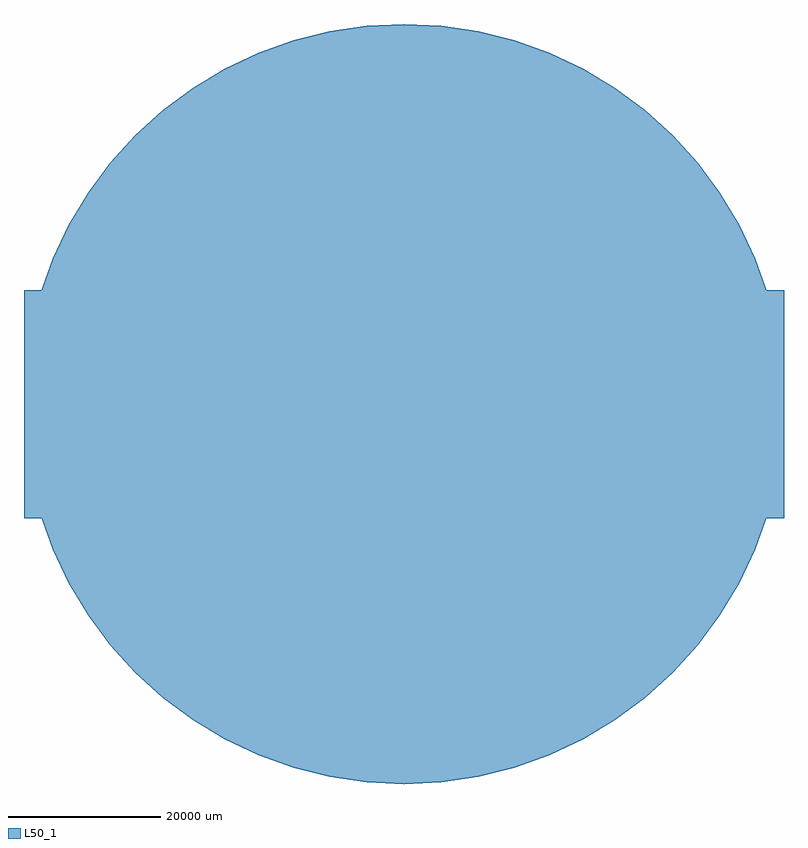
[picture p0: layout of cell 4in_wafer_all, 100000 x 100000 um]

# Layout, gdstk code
import gdstk
lib = gdstk.Library(unit=1e-6, precision=1e-09)
def R(c, l, rs):  # rectangles x0, y0, x1, y1
    for r in rs: c.add(gdstk.rectangle(r[:2], r[2:], *l))
def P(c, l, *ps):  # polygons
    for p in ps: c.add(gdstk.Polygon(p, *l))
L50_1 = (50, 1)

c_4in_frontside_align_min = lib.new_cell('4in_frontside_align_min')
P(c_4in_frontside_align_min, L50_1, [(20898.879,2058.36),(20596.491,4096.897),(20095.747,6095.978),(19401.47,8036.352),(18520.347,9899.331),(17460.862,11666.975),(16233.22,13322.259),(14849.242,14849.242),(13322.259,16233.22),(11666.975,17460.862),(9899.331,18520.347),(8036.352,19401.47),(6095.978,20095.747),(4096.897,20596.491),(2058.36,20898.879),(0,21000),(-2058.36,20898.879),(-4096.897,20596.491),(-6095.978,20095.747),(-8036.352,19401.47),(-9899.331,18520.347),(-11666.975,17460.862),(-13322.259,16233.22),(-14849.242,14849.242),(-16233.22,13322.259),(-17460.862,11666.975),(-18520.347,9899.331),(-19401.47,8036.352),(-20095.747,6095.978),(-20596.491,4096.897),(-20898.879,2058.36),(-21000,0),(-20898.879,-2058.36),(-20596.491,-4096.897),(-20095.747,-6095.978),(-19401.47,-8036.352),(-18520.347,-9899.331),(-17460.862,-11666.975),(-16233.22,-13322.259),(-14849.242,-14849.242),(-13322.259,-16233.22),(-11666.975,-17460.862),(-9899.331,-18520.347),(-8036.352,-19401.47),(-6095.978,-20095.747),(-4096.897,-20596.491),(-2058.36,-20898.879),(0,-21000),(2058.36,-20898.879),(4096.897,-20596.491),(6095.978,-20095.747),(8036.352,-19401.47),(9899.331,-18520.347),(11666.975,-17460.862),(13322.259,-16233.22),(14849.242,-14849.242),(16233.22,-13322.259),(17460.862,-11666.975),(18520.347,-9899.331),(19401.47,-8036.352),(20095.747,-6095.978),(20596.491,-4096.897),(20898.879,-2058.36),(21000,0)])

c_4in_ebr_2mm_5mm = lib.new_cell('4in_ebr_2mm_5mm')
P(c_4in_ebr_2mm_5mm, L50_1, [(47768.867,4704.823),(47077.693,9364.335),(45933.136,13933.665),(44346.218,18368.805),(42332.221,22627.043),(39910.541,26667.371),(37104.502,30450.878),(33941.125,33941.125),(30450.878,37104.502),(26667.371,39910.541),(22627.043,42332.221),(18368.805,44346.218),(13933.665,45933.136),(9364.335,47077.693),(4704.823,47768.867),(0,48000),(-4704.823,47768.867),(-9364.335,47077.693),(-13933.665,45933.136),(-18368.805,44346.218),(-22627.043,42332.221),(-26667.371,39910.541),(-30450.878,37104.502),(-33941.125,33941.125),(-37104.502,30450.878),(-39910.541,26667.371),(-42332.221,22627.043),(-44346.218,18368.805),(-45933.136,13933.665),(-47077.693,9364.335),(-47768.867,4704.823),(-48000,0),(-47768.867,-4704.823),(-47077.693,-9364.335),(-45933.136,-13933.665),(-44346.218,-18368.805),(-42332.221,-22627.043),(-39910.541,-26667.371),(-37104.502,-30450.878),(-33941.125,-33941.125),(-30450.878,-37104.502),(-26667.371,-39910.541),(-22627.043,-42332.221),(-18368.805,-44346.218),(-13933.665,-45933.136),(-9364.335,-47077.693),(-4704.823,-47768.867),(0,-48000),(4704.823,-47768.867),(9364.335,-47077.693),(13933.665,-45933.136),(18368.805,-44346.218),(22627.043,-42332.221),(26667.371,-39910.541),(30450.878,-37104.502),(33941.125,-33941.125),(37104.502,-30450.878),(39910.541,-26667.371),(42332.221,-22627.043),(44346.218,-18368.805),(45933.136,-13933.665),(47077.693,-9364.335),(47768.867,-4704.823),(48000,0)],
  [(44783.313,4410.771),(44135.338,8779.064),(43062.315,13062.81),(41574.579,17220.754),(39686.457,21212.853),(37416.133,25000.66),(34785.47,28547.698),(31819.805,31819.805),(28547.698,34785.47),(25000.66,37416.133),(21212.853,39686.457),(17220.754,41574.579),(13062.81,43062.315),(8779.064,44135.338),(4410.771,44783.313),(0,45000),(-4410.771,44783.313),(-8779.064,44135.338),(-13062.81,43062.315),(-17220.754,41574.579),(-21212.853,39686.457),(-25000.66,37416.133),(-28547.698,34785.47),(-31819.805,31819.805),(-34785.47,28547.698),(-37416.133,25000.66),(-39686.457,21212.853),(-41574.579,17220.754),(-43062.315,13062.81),(-44135.338,8779.064),(-44783.313,4410.771),(-45000,0),(-44783.313,-4410.771),(-44135.338,-8779.064),(-43062.315,-13062.81),(-41574.579,-17220.754),(-39686.457,-21212.853),(-37416.133,-25000.66),(-34785.47,-28547.698),(-31819.805,-31819.805),(-28547.698,-34785.47),(-25000.66,-37416.133),(-21212.853,-39686.457),(-17220.754,-41574.579),(-13062.81,-43062.315),(-8779.064,-44135.338),(-4410.771,-44783.313),(0,-45000),(4410.771,-44783.313),(8779.064,-44135.338),(13062.81,-43062.315),(17220.754,-41574.579),(21212.853,-39686.457),(25000.66,-37416.133),(28547.698,-34785.47),(31819.805,-31819.805),(34785.47,-28547.698),(37416.133,-25000.66),(39686.457,-21212.853),(41574.579,-17220.754),(43062.315,-13062.81),(44135.338,-8779.064),(44783.313,-4410.771),(45000,0)])

c_4in_wafer = lib.new_cell('4in_wafer')
R(c_4in_wafer, L50_1, [(-0.5,-50000,0.5,50000), (-50000,-0.5,50000,0.5)])
P(c_4in_wafer, L50_1, [(49759.236,4900.857),(49039.264,9754.516),(47847.017,14514.234),(46193.977,19134.172),(44096.063,23569.837),(41573.481,27778.512),(38650.523,31719.664),(35355.339,35355.339),(31719.664,38650.523),(27778.512,41573.481),(23569.837,44096.063),(19134.172,46193.977),(14514.234,47847.017),(9754.516,49039.264),(4900.857,49759.236),(0,50000),(-4900.857,49759.236),(-9754.516,49039.264),(-14514.234,47847.017),(-19134.172,46193.977),(-23569.837,44096.063),(-27778.512,41573.481),(-31719.664,38650.523),(-35355.339,35355.339),(-38650.523,31719.664),(-41573.481,27778.512),(-44096.063,23569.837),(-46193.977,19134.172),(-47847.017,14514.234),(-49039.264,9754.516),(-49759.236,4900.857),(-50000,0),(-49759.236,-4900.857),(-49039.264,-9754.516),(-47847.017,-14514.234),(-46193.977,-19134.172),(-44096.063,-23569.837),(-41573.481,-27778.512),(-38650.523,-31719.664),(-35355.339,-35355.339),(-31719.664,-38650.523),(-27778.512,-41573.481),(-23569.837,-44096.063),(-19134.172,-46193.977),(-14514.234,-47847.017),(-9754.516,-49039.264),(-4900.857,-49759.236),(0,-50000),(4900.857,-49759.236),(9754.516,-49039.264),(14514.234,-47847.017),(19134.172,-46193.977),(23569.837,-44096.063),(27778.512,-41573.481),(31719.664,-38650.523),(35355.339,-35355.339),(38650.523,-31719.664),(41573.481,-27778.512),(44096.063,-23569.837),(46193.977,-19134.172),(47847.017,-14514.234),(49039.264,-9754.516),(49759.236,-4900.857),(50000,0)])
c_4in_wafer.add(gdstk.FlexPath([(-17494,-46845.3),(17506,-46845.3)], 0, ends="flush", simple_path=True, layer=50, datatype=1))  # L50_1

c_4in_evalign_backside = lib.new_cell('4in_evalign_backside')
R(c_4in_evalign_backside, L50_1, [(-50000,-15000,-21000,15000), (21000,-15000,50000,15000)])

c_4in_karlsuss_backside = lib.new_cell('4in_karlsuss_backside')
R(c_4in_karlsuss_backside, L50_1, [(-14500,-40750,-13500,-39250), (13500,-40750,14500,-39250), (-18000,-39250,18000,-38250), (-14500,-38250,-13500,-23750), (13500,-38250,14500,-23750), (-32000,-23750,32000,-22750), (-28500,-22750,-27500,-8250), (27500,-22750,28500,-8250), (-16500,-14750,16500,-13750), (-500,-14250,500,14250), (-39500,-8250,-9500,-7250), (9500,-8250,39500,-7250), (-10500,-7250,-9500,7250), (9500,-7250,10500,7250), (-39500,7250,-9500,8250), (9500,7250,39500,8250), (-28500,8250,-27500,22750), (27500,8250,28500,22750), (-16500,13750,16500,14750), (-32000,22750,32000,23750), (-14500,23750,-13500,38250), (13500,23750,14500,38250), (-18000,38250,18000,39250), (-14500,39250,-13500,40750), (13500,39250,14500,40750)])

c_4in_wafer_all = lib.new_cell('4in_wafer_all')
c_4in_wafer_all.add(gdstk.Reference(c_4in_frontside_align_min, (0,0)))
c_4in_wafer_all.add(gdstk.Reference(c_4in_ebr_2mm_5mm, (0,0)))
c_4in_wafer_all.add(gdstk.Reference(c_4in_wafer, (0,0)))
c_4in_wafer_all.add(gdstk.Reference(c_4in_evalign_backside, (0,0)))
c_4in_wafer_all.add(gdstk.Reference(c_4in_karlsuss_backside, (0,0)))

lib.write_gds('4in_wafer_all.gds')
